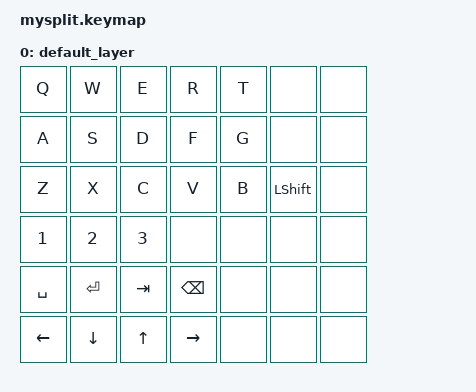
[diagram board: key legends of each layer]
/ {
    keymap {
        compatible = "zmk,keymap";

        default_layer {
            // 6 rows × 7 cols (row-major). Fill the spots you don't use with &none.
            bindings = <
                &kp Q     &kp W     &kp E     &kp R     &kp T     &none     &none
                &kp A     &kp S     &kp D     &kp F     &kp G     &none     &none
                &kp Z     &kp X     &kp C     &kp V     &kp B     &kp LSHFT &none
                &kp N1    &kp N2    &kp N3    &none     &none     &none     &none
                &kp SPACE &kp ENTER &kp TAB   &kp BSPC  &none     &none     &none
                &kp LEFT  &kp DOWN  &kp UP    &kp RIGHT &none     &none     &none
            >;
        };
    };
};
